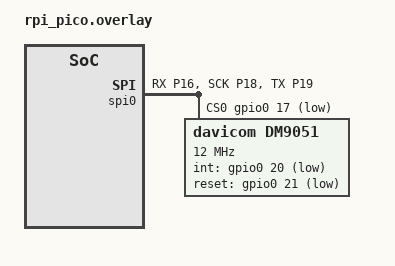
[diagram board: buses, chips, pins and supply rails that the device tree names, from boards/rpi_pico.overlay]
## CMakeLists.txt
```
#pico-zephyr-project
#-------------------------------------------------------------------------------
# Zephyr Example Application
#
# Copyright (c) 2021 Nordic Semiconductor ASA
# SPDX-License-Identifier: Apache-2.0
#-------------------------------------------------------------------------------
# NOTE: Please do not remove the #pico-zephyr-project header, it is used by
# the Raspberry Pi Pico VS Code extension to identify the project type.
#-------------------------------------------------------------------------------

cmake_minimum_required(VERSION 3.20.0)

find_package(Zephyr REQUIRED HINTS $ENV{ZEPHYR_BASE})
project(led LANGUAGES C)

target_sources(app PRIVATE src/main.c)
```

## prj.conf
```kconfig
# Logging (global defaults)
CONFIG_LOG=y
CONFIG_LOG_PRINTK=y
CONFIG_LOG_DEFAULT_LEVEL=3

# Enabled modules
CONFIG_GPIO=y
CONFIG_SPI=y

# Shells
CONFIG_SHELL=y
CONFIG_GPIO_SHELL=y
CONFIG_SPI_SHELL=y
```

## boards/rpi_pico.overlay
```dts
#include <zephyr/dt-bindings/gpio/gpio.h>
#include <zephyr/dt-bindings/pinctrl/rpi-pico-rp2040-pinctrl.h>

/*
 * DM9051 wiring for Raspberry Pi Pico (RP2040)
 * SPI0: MISO=GPIO16, SCK=GPIO18, MOSI=GPIO19
 * CS: GPIO17, INT: GPIO20 (active low), RESET: GPIO21 (active low)
 */

&pinctrl {
	spi0_dm9051_default: spi0_dm9051_default {
		group1 {
			pinmux = <SPI0_RX_P16>, <SPI0_SCK_P18>, <SPI0_TX_P19>;
		};
	};
};

&spi0 {
	pinctrl-0 = <&spi0_dm9051_default>;
	pinctrl-names = "default";
	cs-gpios = <&gpio0 17 GPIO_ACTIVE_LOW>;
	status = "okay";

	dm9051: ethernet@0 {
		compatible = "davicom,dm9051";
		reg = <0>;
		spi-max-frequency = <12000000>;
		int-gpios = <&gpio0 20 GPIO_ACTIVE_LOW>;
		reset-gpios = <&gpio0 21 GPIO_ACTIVE_LOW>;
		status = "okay";
	};
};
```

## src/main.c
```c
#include <zephyr/kernel.h>
#include <zephyr/logging/log.h>
#include <zephyr/drivers/gpio.h>

LOG_MODULE_REGISTER(main, CONFIG_LOG_DEFAULT_LEVEL);

#define LED0_NODE DT_ALIAS(led0)

static const struct gpio_dt_spec led = GPIO_DT_SPEC_GET(LED0_NODE, gpios);

int main(void)
{
    int id = 0; // mod[3] = {0, 1, 2};
    printk("Hello World! Blinky sample\n");

    bool led_state = false;

    if (!gpio_is_ready_dt(&led))
    {
        return 0;
    }

    if (gpio_pin_configure_dt(&led, GPIO_OUTPUT_ACTIVE) < 0)
    {
        return 0;
    }

    while (1)
    {
        if (gpio_pin_toggle_dt(&led) < 0)
        {
            return 0;
        }

        led_state = !led_state;

        printk("LED state: %s\n", led_state ? "ON" : "OFF");

        switch (id)
        {
        case 0:
            printk("Hello World! Blinky sample\n");
            k_sleep(K_MSEC(1000));
            break;
        case 1:
            printk("Hello World! Blinky sample\n");
            k_sleep(K_MSEC(250));
            break;
        case 2:
            printk("Hello World! Blinky sample\n");
            k_sleep(K_MSEC(250));
            break;
        case 3:
            printk("Hello World! Blinky sample\n");
            k_sleep(K_MSEC(1500));
            break;
        default:
            break;
        }
        id = (id + 1) % 4;
    }

    return 0;
}
```
